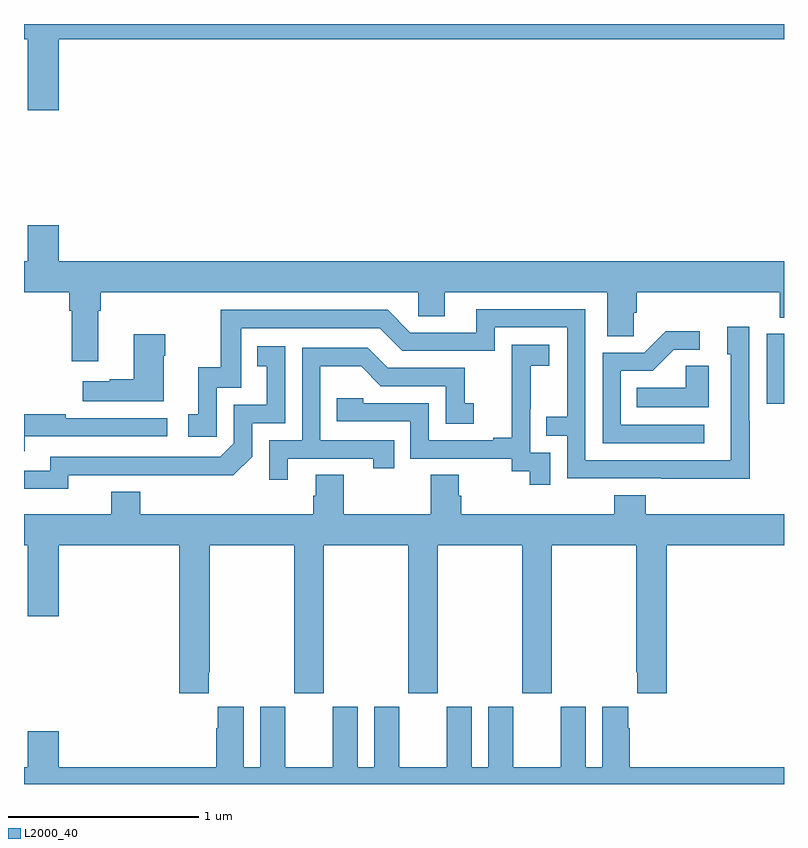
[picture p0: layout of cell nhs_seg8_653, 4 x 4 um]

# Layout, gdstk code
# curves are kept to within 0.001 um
import gdstk
lib = gdstk.Library(unit=1e-6, precision=1e-09)
def R(c, l, rs):  # rectangles x0, y0, x1, y1
    for r in rs: c.add(gdstk.rectangle(r[:2], r[2:], *l))
def P(c, l, *ps):  # polygons
    for p in ps: c.add(gdstk.Polygon(p, *l))
L2000_40 = (2000, 40)

nhs_seg8_653 = lib.new_cell('nhs_seg8_653')
R(nhs_seg8_653, L2000_40, [(156.909,1127.901,157,1128.27)])
P(nhs_seg8_653, L2000_40, [(157,1129.9),(153,1129.9),(153,1129.82),(153.02,1129.82),(153.02,1129.446),(153.184,1129.446),(153.184,1129.82),(157,1129.82)],
  [(153.391,1128.392),(153.404,1128.392),(153.404,1128.488),(155.076,1128.488),(155.076,1128.361),(155.215,1128.361),(155.215,1128.488),(156.071,1128.488),(156.071,1128.256),(156.21,1128.256),(156.21,1128.379),(156.224,1128.379),(156.224,1128.488),(156.977,1128.488),(156.977,1128.355),(157,1128.355),(157,1128.652),(153.184,1128.652),(153.184,1128.841),(153.02,1128.841),(153.02,1128.652),(153,1128.652),(153,1128.488),(153.239,1128.488),(153.239,1128.392),(153.251,1128.392),(153.251,1128.126),(153.391,1128.126)],
  [(156.819,1127.813),(156.816,1127.813),(156.816,1128.307),(156.701,1128.307),(156.701,1128.162),(156.72,1128.162),(156.72,1127.604),(155.955,1127.604),(155.955,1128.399),(155.381,1128.399),(155.381,1128.276),(155.034,1128.276),(154.914,1128.396),(154.035,1128.396),(154.035,1128.094),(153.917,1128.094),(153.917,1127.847),(153.864,1127.847),(153.864,1127.727),(154.014,1127.727),(154.014,1127.985),(154.143,1127.985),(154.143,1128.3),(154.872,1128.3),(154.992,1128.18),(155.478,1128.18),(155.478,1128.303),(155.859,1128.303),(155.859,1127.834),(155.749,1127.834),(155.749,1127.733),(155.859,1127.733),(155.859,1127.508),(156.819,1127.507)],
  [(156.58,1127.79),(156.141,1127.79),(156.141,1128.075),(156.31,1128.075),(156.421,1128.186),(156.556,1128.186),(156.556,1128.284),(156.377,1128.284),(156.264,1128.171),(156.045,1128.171),(156.045,1127.694),(156.58,1127.694)],
  [(153.736,1128.155),(153.744,1128.155),(153.744,1128.268),(153.578,1128.268),(153.578,1128.029),(153.452,1128.029),(153.452,1128.019),(153.309,1128.019),(153.309,1127.915),(153.736,1127.915)],
  [(155.769,1127.643),(155.664,1127.643),(155.664,1127.873),(155.666,1127.873),(155.666,1128.101),(155.764,1128.101),(155.764,1128.211),(155.566,1128.211),(155.566,1128.005),(155.567,1128.005),(155.567,1127.722),(155.471,1127.722),(155.471,1127.709),(155.13,1127.709),(155.13,1127.904),(154.785,1127.904),(154.785,1127.931),(154.645,1127.931),(154.645,1127.808),(155.034,1127.808),(155.034,1127.613),(155.568,1127.613),(155.568,1127.545),(155.661,1127.545),(155.661,1127.475),(155.769,1127.475)],
  [(153.234,1127.526),(154.102,1127.525),(154.2,1127.622),(154.2,1127.799),(154.374,1127.799),(154.374,1128.205),(154.228,1128.205),(154.228,1128.099),(154.277,1128.099),(154.277,1127.895),(154.104,1127.895),(154.104,1127.694),(154.032,1127.622),(153.138,1127.622),(153.138,1127.55),(153,1127.55),(153,1127.453),(153.234,1127.453)],
  [(154.387,1127.613),(154.838,1127.613),(154.838,1127.562),(154.949,1127.562),(154.949,1127.709),(154.56,1127.709),(154.56,1128.098),(154.774,1128.098),(154.878,1127.994),(155.22,1127.994),(155.22,1127.796),(155.368,1127.796),(155.368,1127.905),(155.319,1127.905),(155.319,1128.09),(154.915,1128.09),(154.81,1128.195),(154.464,1128.195),(154.464,1127.709),(154.29,1127.709),(154.29,1127.502),(154.387,1127.502)],
  [(156.604,1128.101),(156.483,1128.101),(156.483,1127.986),(156.226,1127.986),(156.226,1127.882),(156.604,1127.882)],
  [(153.005,1127.73),(153.754,1127.73),(153.754,1127.826),(153.221,1127.826),(153.221,1127.846),(153,1127.846),(153,1127.652),(153.005,1127.652)],
  [(153.973,1126.489),(153.978,1126.489),(153.978,1127.156),(154.423,1127.156),(154.423,1126.377),(154.578,1126.377),(154.578,1127.156),(155.023,1127.156),(155.023,1126.377),(155.178,1126.377),(155.178,1127.156),(155.623,1127.156),(155.623,1126.377),(155.778,1126.377),(155.778,1127.156),(156.223,1127.156),(156.223,1126.489),(156.227,1126.489),(156.227,1126.377),(156.383,1126.377),(156.383,1127.156),(157,1127.156),(157,1127.32),(156.272,1127.32),(156.272,1127.419),(156.107,1127.419),(156.107,1127.32),(155.3,1127.32),(155.3,1127.418),(155.287,1127.418),(155.287,1127.528),(155.14,1127.528),(155.14,1127.32),(154.683,1127.32),(154.683,1127.528),(154.535,1127.528),(154.535,1127.418),(154.523,1127.418),(154.523,1127.32),(153.611,1127.32),(153.611,1127.437),(153.458,1127.437),(153.458,1127.32),(153,1127.32),(153,1127.156),(153.02,1127.156),(153.02,1126.782),(153.184,1126.782),(153.184,1127.156),(153.818,1127.156),(153.818,1126.377),(153.973,1126.377)],
  [(157,1125.988),(156.188,1125.988),(156.188,1126.193),(156.181,1126.193),(156.181,1126.306),(156.044,1126.306),(156.044,1125.988),(155.956,1125.988),(155.956,1126.306),(155.825,1126.306),(155.825,1125.988),(155.575,1125.988),(155.575,1126.306),(155.444,1126.306),(155.444,1125.988),(155.356,1125.988),(155.356,1126.306),(155.225,1126.306),(155.225,1125.988),(154.975,1125.988),(154.975,1126.306),(154.844,1126.306),(154.844,1125.988),(154.756,1125.988),(154.756,1126.306),(154.625,1126.306),(154.625,1125.988),(154.375,1125.988),(154.375,1126.306),(154.244,1126.306),(154.244,1125.988),(154.156,1125.988),(154.156,1126.306),(154.019,1126.306),(154.019,1126.193),(154.013,1126.193),(154.013,1125.988),(153.184,1125.988),(153.184,1126.177),(153.02,1126.177),(153.02,1125.988),(153,1125.988),(153,1125.9),(157,1125.9)])

lib.write_gds('nhs_seg8_653.gds')
